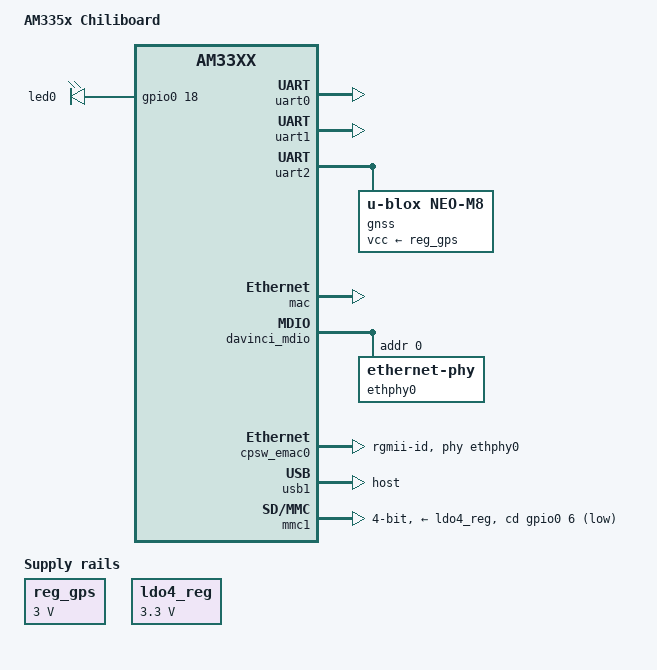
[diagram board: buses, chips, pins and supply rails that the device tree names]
// SPDX-License-Identifier: GPL-2.0-only
/*
 * Copyright (C) 2015 Jablotron s.r.o. -- https://www.jablotron.com/
 * Author: Rostislav Lisovy <lisovy@jablotron.cz>
 */
/dts-v1/;
#include "am335x-chilisom.dtsi"

/ {
	model = "AM335x Chiliboard";
	compatible = "grinn,am335x-chiliboard", "grinn,am335x-chilisom",
		     "ti,am33xx";

	chosen {
		stdout-path = &uart0;
	};

	leds {
		compatible = "gpio-leds";
		pinctrl-names = "default";
		pinctrl-0 = <&led_gpio_pins>;

		led0 {
			label = "led0";
			gpios = <&gpio0 18 GPIO_ACTIVE_HIGH>;
			default-state = "keep";
			linux,default-trigger = "heartbeat";
		};
	};

	reg_gps: reg-gps {
		compatible = "regulator-fixed";
		regulator-name = "gps";
		regulator-min-microvolt = <3000000>;
		regulator-max-microvolt = <3000000>;
	};
};

&am33xx_pinmux {
	uart0_pins: pinmux_uart0_pins {
		pinctrl-single,pins = <
			AM33XX_PADCONF(AM335X_PIN_UART0_RXD, PIN_INPUT_PULLUP, MUX_MODE0)
			AM33XX_PADCONF(AM335X_PIN_UART0_TXD, PIN_OUTPUT_PULLDOWN, MUX_MODE0)
		>;
	};

	uart1_pins: pinmux_uart1_pins {
		pinctrl-single,pins = <
			AM33XX_PADCONF(AM335X_PIN_UART1_RXD, PIN_INPUT_PULLUP, MUX_MODE0)
			AM33XX_PADCONF(AM335X_PIN_UART1_TXD, PIN_OUTPUT_PULLDOWN, MUX_MODE0)
		>;
	};

	uart2_pins: pinmux_uart2_pins {
		pinctrl-single,pins = <
			AM33XX_PADCONF(AM335X_PIN_SPI0_SCLK, PIN_INPUT, MUX_MODE1)
			AM33XX_PADCONF(AM335X_PIN_SPI0_D0, PIN_OUTPUT, MUX_MODE1)
		>;
	};

	cpsw_default: cpsw_default {
		pinctrl-single,pins = <
			/* Slave 1 */
			AM33XX_PADCONF(AM335X_PIN_MII1_TX_EN, PIN_OUTPUT_PULLDOWN, MUX_MODE2)	/* mii1_txen.rgmii1_tctl */
			AM33XX_PADCONF(AM335X_PIN_MII1_RX_DV, PIN_INPUT_PULLDOWN, MUX_MODE2)	/* mii1_rxdv.rgmii1_rctl */
			AM33XX_PADCONF(AM335X_PIN_MII1_TXD3, PIN_OUTPUT_PULLDOWN, MUX_MODE2)	/* mii1_txd3.rgmii1_td3 */
			AM33XX_PADCONF(AM335X_PIN_MII1_TXD2, PIN_OUTPUT_PULLDOWN, MUX_MODE2)	/* mii1_txd2.rgmii1_td2 */
			AM33XX_PADCONF(AM335X_PIN_MII1_TXD1, PIN_OUTPUT_PULLDOWN, MUX_MODE2)	/* mii1_txd1.rgmii1_td1 */
			AM33XX_PADCONF(AM335X_PIN_MII1_TXD0, PIN_OUTPUT_PULLDOWN, MUX_MODE2)	/* mii1_txd0.rgmii1_td0 */
			AM33XX_PADCONF(AM335X_PIN_MII1_TX_CLK, PIN_OUTPUT_PULLDOWN, MUX_MODE2)	/* mii1_txclk.rgmii1_tclk */
			AM33XX_PADCONF(AM335X_PIN_MII1_RX_CLK, PIN_INPUT_PULLDOWN, MUX_MODE2)	/* mii1_rxclk.rgmii1_rclk */
			AM33XX_PADCONF(AM335X_PIN_MII1_RXD3, PIN_INPUT_PULLDOWN, MUX_MODE2)	/* mii1_rxd3.rgmii1_rd3 */
			AM33XX_PADCONF(AM335X_PIN_MII1_RXD2, PIN_INPUT_PULLDOWN, MUX_MODE2)	/* mii1_rxd2.rgmii1_rd2 */
			AM33XX_PADCONF(AM335X_PIN_MII1_RXD1, PIN_INPUT_PULLDOWN, MUX_MODE2)	/* mii1_rxd1.rgmii1_rd1 */
			AM33XX_PADCONF(AM335X_PIN_MII1_RXD0, PIN_INPUT_PULLDOWN, MUX_MODE2)	/* mii1_rxd0.rgmii1_rd0 */
		>;
	};

	cpsw_sleep: cpsw_sleep {
		pinctrl-single,pins = <
			/* Slave 1 reset value */
			AM33XX_PADCONF(AM335X_PIN_MII1_TX_EN, PIN_INPUT_PULLDOWN, MUX_MODE7)
			AM33XX_PADCONF(AM335X_PIN_MII1_RX_DV, PIN_INPUT_PULLDOWN, MUX_MODE7)
			AM33XX_PADCONF(AM335X_PIN_MII1_TXD3, PIN_INPUT_PULLDOWN, MUX_MODE7)
			AM33XX_PADCONF(AM335X_PIN_MII1_TXD2, PIN_INPUT_PULLDOWN, MUX_MODE7)
			AM33XX_PADCONF(AM335X_PIN_MII1_TXD1, PIN_INPUT_PULLDOWN, MUX_MODE7)
			AM33XX_PADCONF(AM335X_PIN_MII1_TXD0, PIN_INPUT_PULLDOWN, MUX_MODE7)
			AM33XX_PADCONF(AM335X_PIN_MII1_TX_CLK, PIN_INPUT_PULLDOWN, MUX_MODE7)
			AM33XX_PADCONF(AM335X_PIN_MII1_RX_CLK, PIN_INPUT_PULLDOWN, MUX_MODE7)
			AM33XX_PADCONF(AM335X_PIN_MII1_RXD3, PIN_INPUT_PULLDOWN, MUX_MODE7)
			AM33XX_PADCONF(AM335X_PIN_MII1_RXD2, PIN_INPUT_PULLDOWN, MUX_MODE7)
			AM33XX_PADCONF(AM335X_PIN_MII1_RXD1, PIN_INPUT_PULLDOWN, MUX_MODE7)
			AM33XX_PADCONF(AM335X_PIN_MII1_RXD0, PIN_INPUT_PULLDOWN, MUX_MODE7)
		>;
	};

	davinci_mdio_default: davinci_mdio_default {
		pinctrl-single,pins = <
			/* mdio_data.mdio_data */
			AM33XX_PADCONF(AM335X_PIN_MDIO, PIN_INPUT_PULLUP | SLEWCTRL_FAST, MUX_MODE0)
			/* mdio_clk.mdio_clk */
			AM33XX_PADCONF(AM335X_PIN_MDC, PIN_OUTPUT_PULLUP, MUX_MODE0)
		>;
	};

	davinci_mdio_sleep: davinci_mdio_sleep {
		pinctrl-single,pins = <
			/* MDIO reset value */
			AM33XX_PADCONF(AM335X_PIN_MDIO, PIN_INPUT_PULLDOWN, MUX_MODE7)
			AM33XX_PADCONF(AM335X_PIN_MDC, PIN_INPUT_PULLDOWN, MUX_MODE7)
		>;
	};

	usb1_drvvbus: usb1_drvvbus {
		pinctrl-single,pins = <
			AM33XX_PADCONF(AM335X_PIN_USB1_DRVVBUS, PIN_OUTPUT_PULLDOWN, MUX_MODE0)
		>;
	};

	sd_pins: pinmux_sd_card {
		pinctrl-single,pins = <
			AM33XX_PADCONF(AM335X_PIN_MMC0_DAT3, PIN_INPUT, MUX_MODE0)
			AM33XX_PADCONF(AM335X_PIN_MMC0_DAT2, PIN_INPUT, MUX_MODE0)
			AM33XX_PADCONF(AM335X_PIN_MMC0_DAT1, PIN_INPUT, MUX_MODE0)
			AM33XX_PADCONF(AM335X_PIN_MMC0_DAT0, PIN_INPUT, MUX_MODE0)
			AM33XX_PADCONF(AM335X_PIN_MMC0_CLK, PIN_INPUT, MUX_MODE0)
			AM33XX_PADCONF(AM335X_PIN_MMC0_CMD, PIN_INPUT, MUX_MODE0)
			AM33XX_PADCONF(AM335X_PIN_SPI0_CS1, PIN_INPUT, MUX_MODE7) /* spi0_cs1.gpio0_6 */
		>;
	};

	led_gpio_pins: led_gpio_pins {
		pinctrl-single,pins = <
			AM33XX_PADCONF(AM335X_PIN_USB0_DRVVBUS, PIN_OUTPUT, MUX_MODE7) /* usb0_drvvbus.gpio0_18 */
		>;
	};
};

&uart0 {
	pinctrl-names = "default";
	pinctrl-0 = <&uart0_pins>;

	status = "okay";
};

&uart1 {
	pinctrl-names = "default";
	pinctrl-0 = <&uart1_pins>;

	status = "okay";
};

&uart2 {
	pinctrl-names = "default";
	pinctrl-0 = <&uart2_pins>;

	status = "okay";
	gnss {
		compatible = "u-blox,neo-m8";

		vcc-supply = <&reg_gps>;
		current-speed = <9600>;
	};
};

&ldo4_reg {
	regulator-min-microvolt = <3300000>;
	regulator-max-microvolt = <3300000>;
};

/* Ethernet */
&mac {
	slaves = <1>;
	pinctrl-names = "default", "sleep";
	pinctrl-0 = <&cpsw_default>;
	pinctrl-1 = <&cpsw_sleep>;
	status = "okay";
};

&davinci_mdio {
	pinctrl-names = "default", "sleep";
	pinctrl-0 = <&davinci_mdio_default>;
	pinctrl-1 = <&davinci_mdio_sleep>;
	status = "okay";

	ethphy0: ethernet-phy@0 {
		reg = <0>;
	};
};

&cpsw_emac0 {
	phy-handle = <&ethphy0>;
	phy-mode = "rgmii-id";
};

/* USB */
&usb1 {
	pinctrl-names = "default";
	pinctrl-0 = <&usb1_drvvbus>;
	dr_mode = "host";
};

/* microSD */
&mmc1 {
	pinctrl-names = "default";
	pinctrl-0 = <&sd_pins>;
	vmmc-supply = <&ldo4_reg>;
	bus-width = <0x4>;
	cd-gpios = <&gpio0 6 GPIO_ACTIVE_LOW>;
	status = "okay";
};

&tps {
	interrupt-parent = <&intc>;
	interrupts = <7>; /* NNMI */

	charger {
		status = "okay";
	};

	pwrbutton {
		status = "okay";
	};
};
